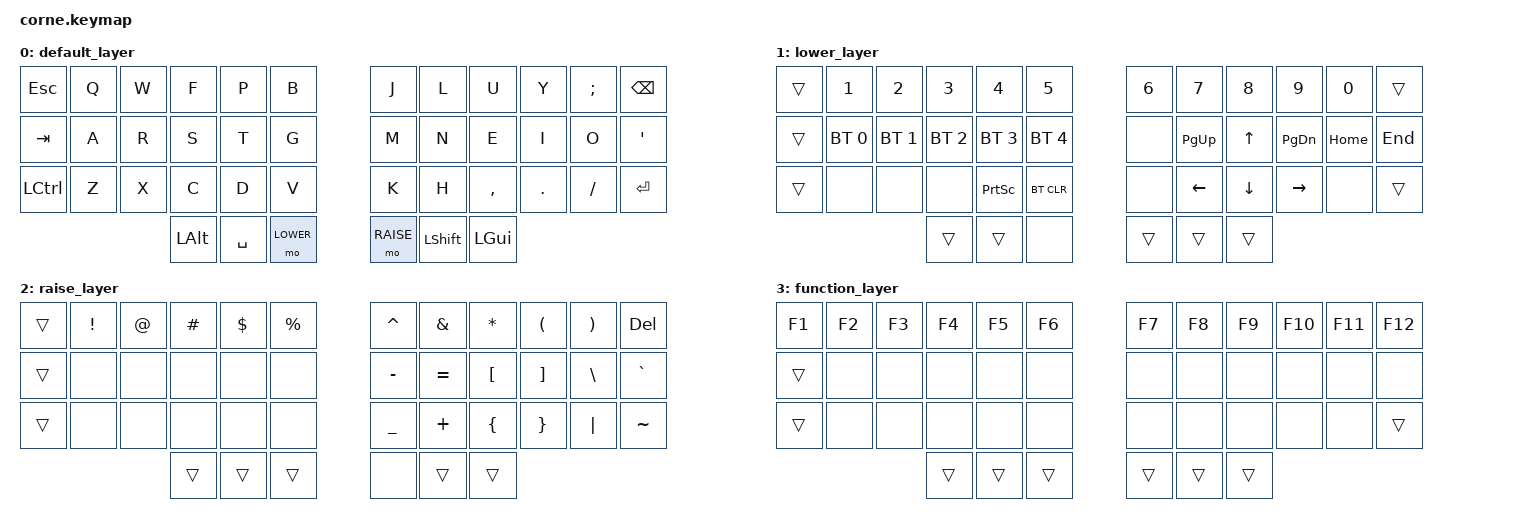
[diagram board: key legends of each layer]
/*
 * Copyright (c) 2020 The ZMK Contributors
 *
 * SPDX-License-Identifier: MIT
 */

#include <behaviors.dtsi>
#include <dt-bindings/zmk/keys.h>
#include <dt-bindings/zmk/bt.h>

#define DEFAULT 0
#define LOWER   1
#define RAISE   2
#define FUNC    3

/ {
        conditional_layers {
            compatible = "zmk,conditional-layers";
            tri_layer {
                if-layers = <LOWER RAISE>;
                then-layer = <FUNC>;
            };
        };

        keymap {
                compatible = "zmk,keymap";

                default_layer {
// -----------------------------------------------------------------------------------------
// |  ESC |  Q  |  W  |  F  |  P  |  B  |   |  J  |  L   |  U  |  Y  |  ;  | BKSP |
// |  TAB |  A  |  R  |  S  |  T  |  G  |   |  M  |  N   |  E  |  I  |  O  |  '   |
// | CTRL |  Z  |  X  |  C  |  D  |  V  |   |  K  |  H   |  ,  |  .  |  /  | ENTR |
//                    | ALT | SPC | LWR |   | RSE | SHFT | GUI |
                        bindings = <
   &kp ESC   &kp Q &kp W &kp F    &kp P     &kp B       &kp J     &kp L      &kp U     &kp Y   &kp SEMI &kp BSPC
   &kp TAB   &kp A &kp R &kp S    &kp T     &kp G       &kp M     &kp N      &kp E     &kp I   &kp O    &kp SQT
   &kp LCTRL &kp Z &kp X &kp C    &kp D     &kp V       &kp K     &kp H      &kp COMMA &kp DOT &kp FSLH &kp ENTER
                         &kp LALT &kp SPACE &mo LOWER   &mo RAISE &kp LSHIFT &kp LGUI
                        >;
                };

                lower_layer {
// -----------------------------------------------------------------------------------------
// |      |  1  |  2  |  3  |  4  |  5  |   |  6  |  7  |  8  |  9  |  0  |      |
// |      | BT1 | BT2 | BT3 | BT4 | BT5 |   |     | PUP |  UP | PDN | HME | END  |
// |      |     |     |     | PSC | BTC |   |     | LFT | DWN | RGT |     |      |
//                    |     |     |     |   |     |     |     |
                        bindings = <
   &trans     &kp N1       &kp N2       &kp N3       &kp N4       &kp N5         &kp N6 &kp N7    &kp N8   &kp N9    &kp N0   &trans
   &trans     &bt BT_SEL 0 &bt BT_SEL 1 &bt BT_SEL 2 &bt BT_SEL 3 &bt BT_SEL 4   &none  &kp PG_UP &kp UP   &kp PG_DN &kp HOME &kp END
   &trans     &none        &none        &none        &kp PSCRN    &bt BT_CLR     &none  &kp LEFT  &kp DOWN &kp RIGHT &none    &trans
                          	            &trans       &trans       &none          &trans &trans    &trans
                        >;
                };

                raise_layer {
// -----------------------------------------------------------------------------------------
// |      |  !  |  @  |  #  |  $  |  %  |   |  ^  |  &  |  *  |  (  |  )  | DEL  |
// |      |     |     |     |     |     |   |  -  |  =  |  [  |  ]  |  \  |  `   |
// |      |     |     |     |     |     |   |  _  |  +  |  {  |  }  | "|" |  ~   |
//                    |     |     |     |   |     |     |     |
                        bindings = <
   &trans    &kp EXCL &kp AT &kp HASH &kp DLLR &kp PRCNT   &kp CARET &kp AMPS  &kp ASTRK &kp LPAR &kp RPAR &kp DEL
   &trans    &none    &none  &none    &none    &none       &kp MINUS &kp EQUAL &kp LBKT  &kp RBKT &kp BSLH &kp GRAVE
   &trans    &none    &none  &none    &none    &none       &kp UNDER &kp PLUS  &kp LBRC  &kp RBRC &kp PIPE &kp TILDE
                    	     &trans   &trans   &trans      &none     &trans    &trans
                        >;
                };

                function_layer {
// -----------------------------------------------------------------------------------------
// | F1 | F2 | F3 | F4 | F5 | F6 |   | F7 | F8 | F9 | F10 | F11 | F12 |
// |    |    |    |    |    |    |   |    |    |    |     |     |     |
// |    |    |    |    |    |    |   |    |    |    |     |     |     |
//                     |    |    |   |    |    |    |     |
                        bindings = <
   &kp F1 &kp F2 &kp F3 &kp F4 &kp F5 &kp F6   &kp F7 &kp F8 &kp F9 &kp F10 &kp F11 &kp F12
   &trans &none  &none  &none  &none  &none    &none  &none  &none  &none   &none   &none
   &trans &none  &none  &none  &none  &none    &none  &none  &none  &none   &none   &trans
                        &trans &trans &trans   &trans &trans &trans
                        >;
                };

        };
};
